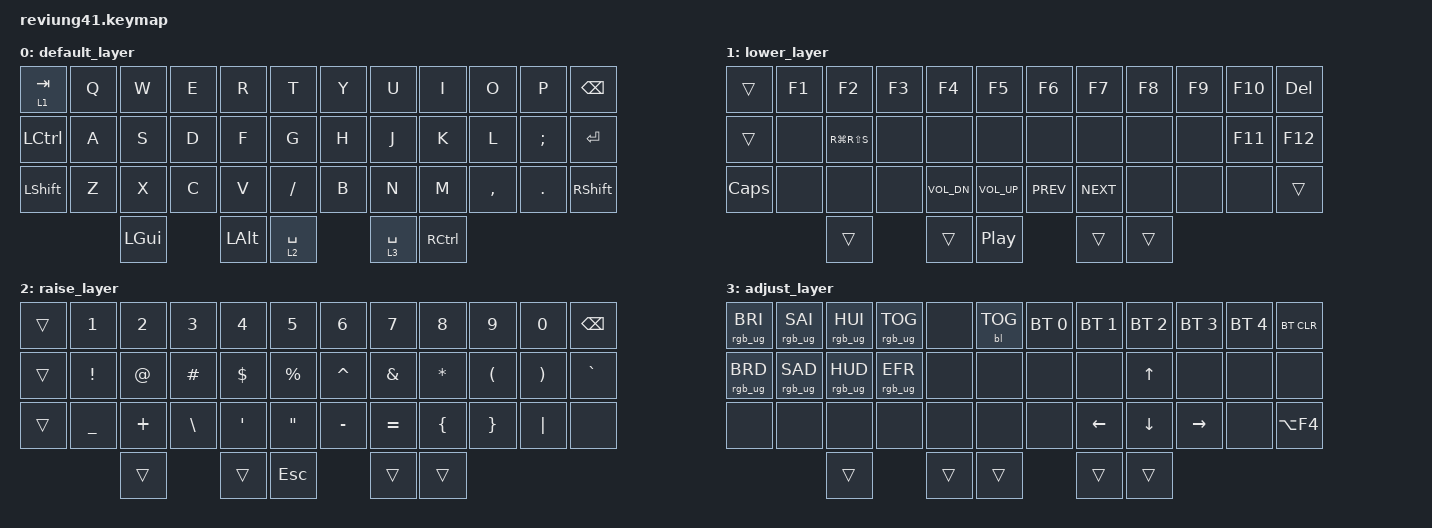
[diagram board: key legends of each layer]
/*
 * Copyright (c) 2020 The ZMK Contributors
 *
 * SPDX-License-Identifier: MIT
 */

#include <behaviors.dtsi>
#include <dt-bindings/zmk/keys.h>
#include <dt-bindings/zmk/bt.h>
#include <dt-bindings/zmk/rgb.h>
#include <dt-bindings/zmk/backlight.h>


/ {
        keymap {
                compatible = "zmk,keymap";

                default_layer {
// -------------------------------------------------------------------------------------
// |  TAB |  Q  |  W  |  E  |  R  |  T  |   |  Y  |  U   |  I  |  O  |  P  |   BKSP    |
// | CTRL |  A  |  S  |  D  |  F  |  G  |   |  H  |  J   |  K  |  L  |  ;  |    '      |
// | SHFT |  Z  |  X  |  C  |  V  |  B  |   |  N  |  M   |  ,  |  .  |  /  | SHFT(RET) |
//                         | ALT | LWR | SPC | RSE  | ALT |
                        bindings = <
   &lt 1 TAB   &kp Q &kp W &kp E &kp R &kp T     &kp Y   &kp U  &kp I     &kp O     &kp P      &kp BSPC
   &kp LCTRL   &kp A &kp S &kp D &kp F &kp G     &kp H   &kp J  &kp K     &kp L     &kp SEMI   &kp RET
   &kp LSHFT   &kp Z &kp X &kp C &kp V  &kp FSLH &kp B   &kp N  &kp M     &kp COMMA &kp DOT    &kp RSHFT
                        &kp LGUI  &kp LALT &lt 2 SPACE &lt 3 SPACE  &kp RCTRL
                        >;
                };

                lower_layer {
// ----------------------------------------------------------------------------------
// |    |  !  |  @  |  #  |  $  |  %  |   |  ^  |  &  |  *  |  (  |  )  |    DEL    |
// |    |  _  |  +  |  {  |  }  | "|" |   | LFT | DWN |  UP | RGT |  `  |     ~     |
// |    | ESC | GUI | ALT | CAPS|  "  |   | HOME| END | PGUP| PGDN| PRSC| SHFT(RET) |
//                       |     |     | RET | ADJ |     |
                        bindings = <
   &trans &kp F1    &kp F2      &kp F3    &kp F4        &kp F5                &kp F6         &kp F7         &kp F8    &kp F9   &kp F10  &kp DEL
   &trans &none     &kp RG(RS(S))       &none     &none         &none                 &none          &none          &none     &none    &kp F11  &kp F12
   &kp CAPS &none     &none       &none     &kp C_VOL_DN  &kp C_VOL_UP        &kp C_PREV     &kp C_NEXT     &none     &none    &none    &trans
                                 &trans      &trans       &kp C_PP        &trans    &trans
                        >;
                };

                raise_layer {
// -----------------------------------------------------------------------------------------
// |    |  1  |  2  |  3  |  4  |  5  |   |  6  |  7  |  8  |  9  |  0  | DEL |
// |    |  -  |  =  |  [  |  ]  |  \  |   | F1  | F2  | F3  | F4  | F5  | F6  |
// |    | ESC | GUI | ALT | CAPS|  "  |   | F7  | F8  | F9  | F10 | F11 | F12 |
//                       |     | ADJ | BKSP |    |     |
                        bindings = <
   &trans &kp N1    &kp N2    &kp N3    &kp N4    &kp N5            &kp N6     &kp N7      &kp N8      &kp N9      &kp N0     &kp BSPC
   &trans &kp EXCL  &kp AT    &kp HASH  &kp DLLR  &kp PRCNT         &kp CARET  &kp AMPS    &kp STAR    &kp LPAR    &kp RPAR   &kp GRAVE
   &trans &kp UNDER &kp PLUS  &kp BSLH  &kp SQT   &kp DQT           &kp MINUS  &kp EQUAL   &kp LBRC    &kp RBRC    &kp PIPE   &none
                                &trans      &trans       &kp ESC        &trans     &trans
                        >;
                };

                adjust_layer {
// -----------------------------------------------------------------------------------------
// | RGB BRI+ | RGB SAT+ | RGB HUE+ | RGB ANI+ |    | RGB TOG |   |  BT1  | BT2 | BT3 | BT4 | BT5 | BT CLR |
// | RGB BRI- | RGB SAT- | RGB HUE- | RGB ANI- |    |         |   |       |     |     |     |     |        |
// |          |          |          |          |    |         |   | RESET |     |     |     |     |        |
//                                              |     |     |     |     |     |
                        bindings = <
   &rgb_ug RGB_BRI &rgb_ug RGB_SAI &rgb_ug RGB_HUI &rgb_ug RGB_TOG &none &bl BL_TOG    &bt BT_SEL 0 &bt BT_SEL 1 &bt BT_SEL 2 &bt BT_SEL 3 &bt BT_SEL 4 &bt BT_CLR
   &rgb_ug RGB_BRD &rgb_ug RGB_SAD &rgb_ug RGB_HUD &rgb_ug RGB_EFR &none &none              &none        &none       &kp UP     &none        &none        &none
   &none           &none           &none           &none           &none &none              &none       &kp LEFT  &kp DOWN  &kp RIGHT        &none        &kp LA(F4)
                                                             &trans      &trans       &trans        &trans      &trans
                        >;
                };
        };
};
